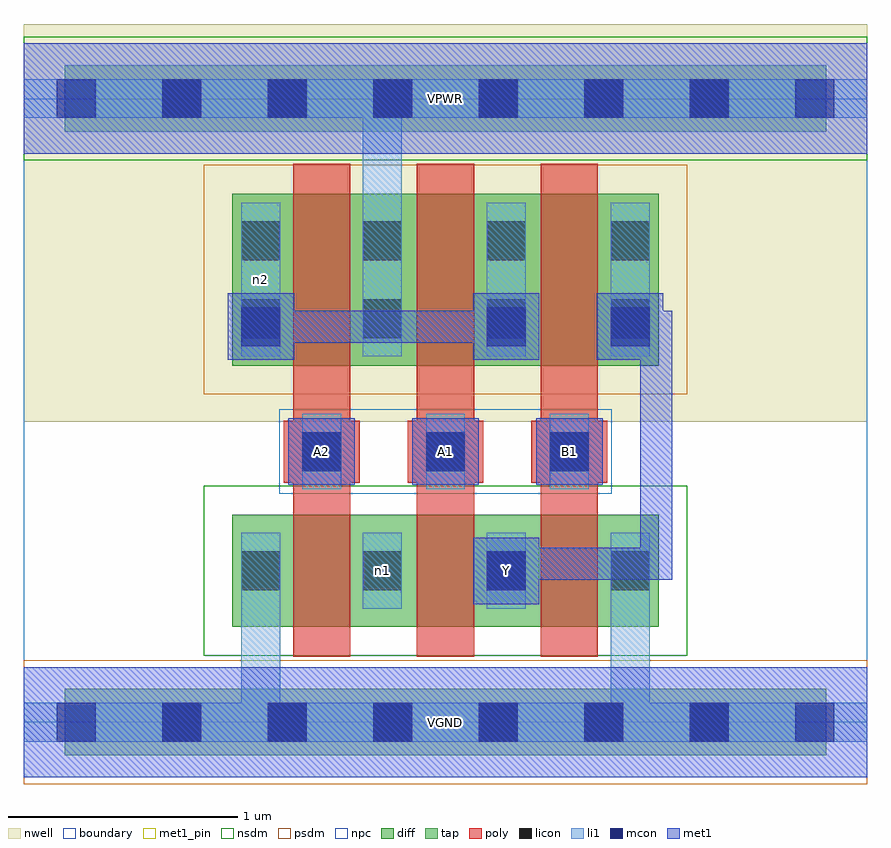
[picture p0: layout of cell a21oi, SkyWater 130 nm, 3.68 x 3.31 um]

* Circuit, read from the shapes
.subckt a21oi A1 A2 B1 VGND VPWR Y n1 n2
XM1 n1 A2 VGND VGND sky130_fd_pr__nfet_01v8 w=0.49 l=0.25
XM2 Y A1 n1 VGND sky130_fd_pr__nfet_01v8 w=0.49 l=0.25
XM3 VGND B1 Y VGND sky130_fd_pr__nfet_01v8 w=0.49 l=0.25
XM4 VPWR A2 n2 VPWR sky130_fd_pr__pfet_01v8 w=0.75 l=0.25
XM5 n2 A1 VPWR VPWR sky130_fd_pr__pfet_01v8 w=0.75 l=0.25
XM6 Y B1 n2 VPWR sky130_fd_pr__pfet_01v8 w=0.75 l=0.25
.ends

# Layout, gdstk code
import gdstk
lib = gdstk.Library(unit=1e-6, precision=1e-09)
def R(c, l, rs):  # rectangles x0, y0, x1, y1
    for r in rs: c.add(gdstk.rectangle(r[:2], r[2:], *l))
def A(c, l, x, y, w, h, nx, ny, dx, dy):  # array of equal rectangles
    R(c, l, [(x+i*dx, y+j*dy, x+i*dx+w, y+j*dy+h) for i in range(nx) for j in range(ny)])
nwell = (64, 20)
diff = (65, 20)
tap = (65, 44)
poly = (66, 20)
licon = (66, 44)
li1 = (67, 20)
mcon = (67, 44)
met1_pin = (68, 16)
met1 = (68, 20)
nsdm = (93, 44)
psdm = (94, 20)
npc = (95, 20)
boundary = (235, 4)

a21oi = lib.new_cell('a21oi')
R(a21oi, nwell, [(0,1.31,3.68,3.045)])
R(a21oi, diff, [(0.91,0.415,2.77,0.905), (0.91,1.555,2.77,2.305)])
R(a21oi, tap, [(0.18,-0.145,3.5,0.145), (0.18,2.575,3.5,2.865)])
A(a21oi, poly, 1.175, 0.285, 0.25, 2.15, 3, 1, 0.54, 0)
A(a21oi, poly, 1.135, 1.045, 0.33, 0.27, 3, 1, 0.54, 0)
A(a21oi, licon, 0.605, -0.085, 0.17, 0.17, 6, 2, 0.46, 2.72)
A(a21oi, licon, 1.48, 0.575, 0.17, 0.17, 3, 2, 0.54, 1.1)
A(a21oi, licon, 1.215, 1.095, 0.17, 0.17, 3, 1, 0.54, 0)
A(a21oi, licon, 1.48, 2.015, 0.17, 0.17, 3, 1, 0.54, 0)
R(a21oi, licon, [(0.95,0.575,1.12,0.745), (0.95,1.675,1.12,1.845), (0.95,2.015,1.12,2.185)])
A(a21oi, li1, 1.48, 0.495, 0.17, 0.33, 3, 1, 0.54, 0)
A(a21oi, li1, 1.215, 1.015, 0.17, 0.33, 3, 1, 0.54, 0)
A(a21oi, li1, 1.48, 1.595, 0.17, 0.67, 3, 1, 0.54, 0)
R(a21oi, li1, [(0,-0.085,3.68,0.085), (0.95,-0.085,1.12,0.825), (2.56,-0.085,2.73,0.825), (0.95,0.495,1.12,0.825), (0.95,1.595,1.12,2.265), (1.48,1.595,1.65,2.805), (0,2.635,3.68,2.805)])
A(a21oi, mcon, 0.145, -0.085, 0.17, 0.17, 8, 2, 0.46, 2.72)
A(a21oi, mcon, 1.215, 1.095, 0.17, 0.17, 3, 1, 0.54, 0)
R(a21oi, mcon, [(2.02,0.575,2.19,0.745), (0.95,1.64,1.12,1.81), (2.02,1.64,2.19,1.81), (2.56,1.64,2.73,1.81)])
A(a21oi, met1_pin, 1.155, 1.035, 0.29, 0.29, 3, 1, 0.54, 0)
R(a21oi, met1_pin, [(0,-0.24,3.68,0.24), (1.96,0.515,2.25,0.805), (0,2.48,3.68,2.96)])
A(a21oi, met1, 1.155, 1.035, 0.29, 0.29, 3, 1, 0.54, 0)
R(a21oi, met1, [(0,-0.24,3.68,0.24), (1.96,0.515,2.25,0.805), (2,0.62,2.14,0.76), (2,0.62,2.83,0.76), (2.69,0.62,2.83,1.795), (0.89,1.58,1.18,1.87), (1.96,1.58,2.25,1.87), (2.5,1.58,2.79,1.87), (0.965,1.655,2.025,1.795), (1.885,1.655,2.175,1.795), (2.575,1.655,2.83,1.795), (0,2.48,3.68,2.96)])
R(a21oi, nsdm, [(0.785,0.29,2.895,1.03), (0,2.45,3.68,2.99)])
R(a21oi, psdm, [(0,-0.27,3.68,0.27), (0.785,1.43,2.895,2.43)])
R(a21oi, npc, [(1.115,0.995,2.565,1.365)])
R(a21oi, boundary, [(0,0,3.68,2.72)])
a21oi.add(gdstk.Label('n1', (1.565,0.66), layer=67, texttype=5))
a21oi.add(gdstk.Label('n2', (1.035,1.93), layer=67, texttype=5))
a21oi.add(gdstk.Label('A1', (1.84,1.18), layer=68, texttype=5))
a21oi.add(gdstk.Label('A2', (1.3,1.18), layer=68, texttype=5))
a21oi.add(gdstk.Label('B1', (2.38,1.18), layer=68, texttype=5))
a21oi.add(gdstk.Label('Y', (2.105,0.66), layer=68, texttype=5))
a21oi.add(gdstk.Label('VPWR', (1.84,2.72), layer=68, texttype=5))
a21oi.add(gdstk.Label('VGND', (1.84,0), layer=68, texttype=5))
a21oi.add(gdstk.Label('A1', (1.84,1.18), layer=68, texttype=16))
a21oi.add(gdstk.Label('A2', (1.3,1.18), layer=68, texttype=16))
a21oi.add(gdstk.Label('B1', (2.38,1.18), layer=68, texttype=16))
a21oi.add(gdstk.Label('Y', (2.105,0.66), layer=68, texttype=16))
a21oi.add(gdstk.Label('VPWR', (1.84,2.72), layer=68, texttype=16))
a21oi.add(gdstk.Label('VGND', (1.84,0), layer=68, texttype=16))

lib.write_gds('a21oi.gds')
